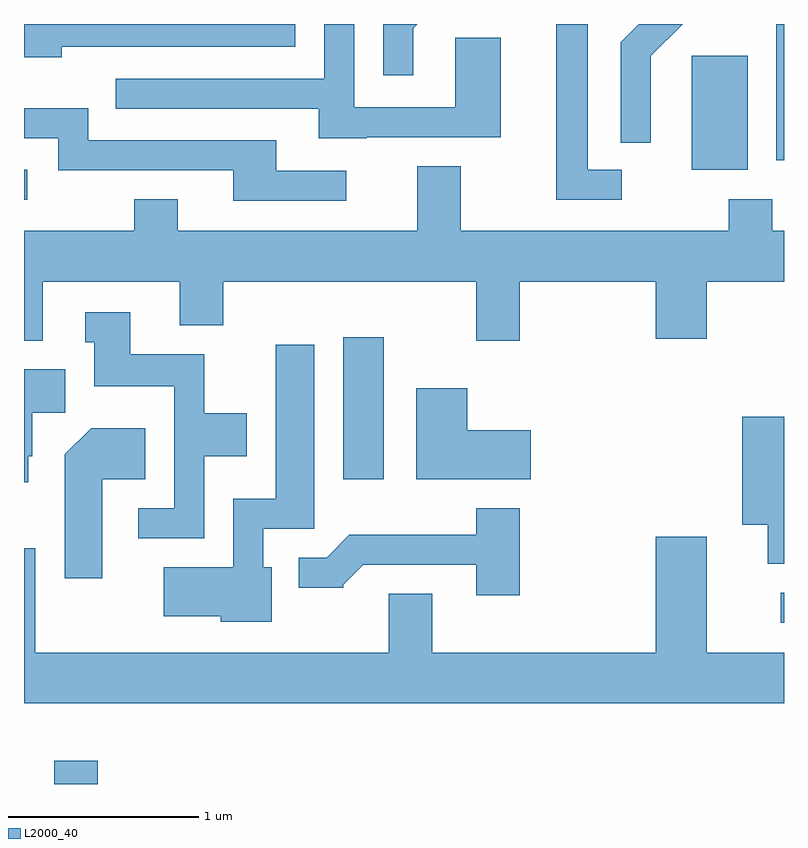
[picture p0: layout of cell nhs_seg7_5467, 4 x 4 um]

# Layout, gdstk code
import gdstk
lib = gdstk.Library(unit=1e-6, precision=1e-09)
def R(c, l, rs):  # rectangles x0, y0, x1, y1
    for r in rs: c.add(gdstk.rectangle(r[:2], r[2:], *l))
def P(c, l, *ps):  # polygons
    for p in ps: c.add(gdstk.Polygon(p, *l))
L2000_40 = (2000, 40)

nhs_seg7_5467 = lib.new_cell('nhs_seg7_5467')
R(nhs_seg7_5467, L2000_40, [(351.771,1798.252,351.999,1798.374), (355.593,1799.101,355.611,1799.259), (353.291,1799.856,353.504,1800.604), (351.611,1801.326,351.628,1801.484), (355.126,1801.486,355.419,1802.084), (355.571,1801.536,355.611,1802.252)])
P(nhs_seg7_5467, L2000_40, [(353.415,1801.656),(354.119,1801.656),(354.119,1802.179),(353.881,1802.179),(353.881,1801.814),(353.349,1801.814),(353.349,1802.252),(353.191,1802.252),(353.191,1801.964),(352.093,1801.964),(352.093,1801.806),(353.161,1801.806),(353.161,1801.651),(353.415,1801.651)],
  [(351.809,1802.131),(353.039,1802.131),(353.039,1802.252),(351.611,1802.252),(351.611,1802.076),(351.809,1802.076)],
  [(354.909,1802.084),(355.077,1802.252),(354.846,1802.252),(354.751,1802.157),(354.751,1801.628),(354.909,1801.628)],
  [(353.659,1802.229),(353.682,1802.252),(353.501,1802.252),(353.501,1801.983),(353.659,1801.983)],
  [(354.758,1801.484),(354.579,1801.484),(354.579,1802.252),(354.411,1802.252),(354.411,1801.326),(354.758,1801.326)],
  [(353.308,1801.479),(352.939,1801.479),(352.939,1801.639),(351.949,1801.639),(351.949,1801.809),(351.611,1801.809),(351.611,1801.651),(351.791,1801.651),(351.791,1801.481),(352.711,1801.481),(352.711,1801.321),(353.308,1801.321)],
  [(351.709,1800.896),(352.431,1800.896),(352.431,1800.666),(352.659,1800.666),(352.659,1800.896),(353.991,1800.896),(353.991,1800.586),(354.219,1800.586),(354.219,1800.896),(354.936,1800.896),(354.936,1800.596),(355.204,1800.596),(355.204,1800.896),(355.611,1800.896),(355.611,1801.164),(355.549,1801.164),(355.549,1801.329),(355.321,1801.329),(355.321,1801.164),(353.909,1801.164),(353.909,1801.504),(353.681,1801.504),(353.681,1801.164),(352.419,1801.164),(352.419,1801.329),(352.191,1801.329),(352.191,1801.164),(351.611,1801.164),(351.611,1800.586),(351.709,1800.586)],
  [(352.559,1799.976),(352.784,1799.976),(352.784,1800.204),(352.559,1800.204),(352.559,1800.514),(352.169,1800.514),(352.169,1800.734),(351.933,1800.734),(351.933,1800.576),(351.981,1800.576),(351.981,1800.346),(352.401,1800.346),(352.401,1799.704),(352.213,1799.704),(352.213,1799.546),(352.559,1799.546)],
  [(352.914,1799.394),(352.869,1799.394),(352.869,1799.596),(353.139,1799.596),(353.139,1800.564),(352.936,1800.564),(352.936,1799.754),(352.711,1799.754),(352.711,1799.394),(352.346,1799.394),(352.346,1799.136),(352.646,1799.136),(352.646,1799.106),(352.914,1799.106)],
  [(351.634,1799.976),(351.654,1799.976),(351.654,1800.206),(351.829,1800.206),(351.829,1800.434),(351.611,1800.434),(351.611,1799.841),(351.634,1799.841)],
  [(354.279,1800.114),(353.944,1800.114),(353.944,1800.334),(353.676,1800.334),(353.676,1799.856),(354.279,1799.856)],
  [(355.611,1800.184),(355.391,1800.184),(355.391,1799.616),(355.526,1799.616),(355.526,1799.411),(355.611,1799.411)],
  [(352.024,1799.856),(352.249,1799.856),(352.249,1800.124),(351.964,1800.124),(351.826,1799.987),(351.826,1799.336),(352.024,1799.336)],
  [(354.219,1799.704),(353.991,1799.704),(353.991,1799.564),(353.324,1799.564),(353.204,1799.444),(353.058,1799.444),(353.058,1799.286),(353.29,1799.286),(353.29,1799.3),(353.397,1799.406),(353.991,1799.406),(353.991,1799.246),(354.219,1799.246)],
  [(355.611,1798.944),(355.204,1798.944),(355.204,1799.554),(354.936,1799.554),(354.936,1798.944),(353.759,1798.944),(353.759,1799.254),(353.531,1799.254),(353.531,1798.944),(351.669,1798.944),(351.669,1799.493),(351.611,1799.493),(351.611,1798.676),(355.611,1798.676)])

lib.write_gds('nhs_seg7_5467.gds')
